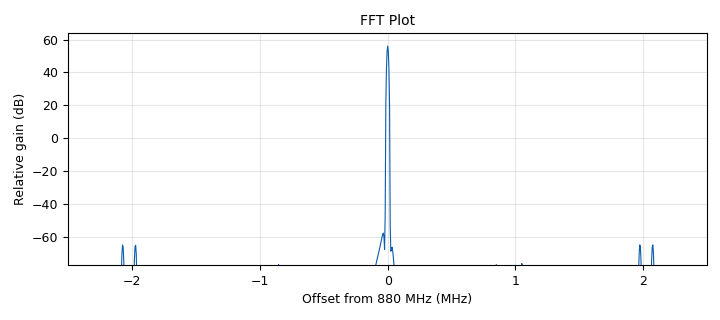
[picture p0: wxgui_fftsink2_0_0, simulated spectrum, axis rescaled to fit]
<?xml version='1.0' encoding='utf-8'?>
<?grc format='1' created='3.7.9'?>
<flow_graph>
<block>
<key>options</key>
<param><key>id</key><value>top_block</value></param>
<param><key>category</key><value>Custom</value></param>
<param><key>generate_options</key><value>wx_gui</value></param>
</block>
<block>
<key>variable</key>
<param><key>id</key><value>freq</value></param>
<param><key>value</key><value>880000000</value></param>
</block>
<block>
<key>variable</key>
<param><key>id</key><value>samp_rate</value></param>
<param><key>value</key><value>5000000</value></param>
</block>
<block>
<key>analog_sig_source_x</key>
<param><key>id</key><value>analog_sig_source_x_0</value></param>
<param><key>amp</key><value>30</value></param>
<param><key>freq</key><value>freq + 2000000</value></param>
<param><key>offset</key><value>0</value></param>
<param><key>type</key><value>complex</value></param>
<param><key>samp_rate</key><value>samp_rate</value></param>
<param><key>waveform</key><value>analog.GR_COS_WAVE</value></param>
</block>
<block>
<key>analog_sig_source_x</key>
<param><key>id</key><value>analog_sig_source_x_0_0</value></param>
<param><key>amp</key><value>30</value></param>
<param><key>freq</key><value>freq - 2000000</value></param>
<param><key>offset</key><value>0</value></param>
<param><key>type</key><value>complex</value></param>
<param><key>samp_rate</key><value>samp_rate</value></param>
<param><key>waveform</key><value>analog.GR_COS_WAVE</value></param>
</block>
<block>
<key>blocks_add_xx</key>
<param><key>id</key><value>blocks_add_xx_0</value></param>
<param><key>type</key><value>complex</value></param>
</block>
<block>
<key>blocks_multiply_xx</key>
<param><key>id</key><value>blocks_multiply_xx_0</value></param>
<param><key>type</key><value>complex</value></param>
</block>
<block>
<key>blocks_throttle</key>
<param><key>id</key><value>blocks_throttle_0</value></param>
<param><key>samples_per_second</key><value>samp_rate</value></param>
<param><key>type</key><value>complex</value></param>
</block>
<block>
<key>uhd_usrp_source</key>
<param><key>id</key><value>uhd_usrp_source_0</value></param>
<param><key>ant0</key><value></value></param>
<param><key>bw0</key><value>samp_rate / 2</value></param>
<param><key>center_freq0</key><value>freq</value></param>
<param><key>dc_offs_enb0</key><value>""</value></param>
<param><key>iq_imbal_enb0</key><value>""</value></param>
<param><key>norm_gain0</key><value>False</value></param>
<param><key>gain0</key><value>100</value></param>
<param><key>clock_rate</key><value>0.0</value></param>
<param><key>dev_args</key><value>""</value></param>
<param><key>type</key><value>fc32</value></param>
<param><key>samp_rate</key><value>samp_rate</value></param>
<param><key>hide_cmd_port</key><value>False</value></param>
<param><key>sync</key><value></value></param>
</block>
<block>
<key>wxgui_fftsink2</key>
<param><key>id</key><value>wxgui_fftsink2_0</value></param>
<param><key>avg_alpha</key><value>0</value></param>
<param><key>average</key><value>False</value></param>
<param><key>baseband_freq</key><value>freq</value></param>
<param><key>fft_size</key><value>1024</value></param>
<param><key>freqvar</key><value>None</value></param>
<param><key>peak_hold</key><value>False</value></param>
<param><key>ref_level</key><value>0</value></param>
<param><key>ref_scale</key><value>2.0</value></param>
<param><key>fft_rate</key><value>15</value></param>
<param><key>samp_rate</key><value>samp_rate</value></param>
<param><key>title</key><value>FFT Plot</value></param>
<param><key>type</key><value>complex</value></param>
<param><key>win</key><value>None</value></param>
<param><key>y_divs</key><value>10</value></param>
<param><key>y_per_div</key><value>10</value></param>
</block>
<block>
<key>wxgui_fftsink2</key>
<param><key>id</key><value>wxgui_fftsink2_0_0</value></param>
<param><key>avg_alpha</key><value>0</value></param>
<param><key>average</key><value>False</value></param>
<param><key>baseband_freq</key><value>freq</value></param>
<param><key>fft_size</key><value>1024</value></param>
<param><key>freqvar</key><value>None</value></param>
<param><key>peak_hold</key><value>False</value></param>
<param><key>ref_level</key><value>0</value></param>
<param><key>ref_scale</key><value>2.0</value></param>
<param><key>fft_rate</key><value>15</value></param>
<param><key>samp_rate</key><value>samp_rate</value></param>
<param><key>title</key><value>FFT Plot</value></param>
<param><key>type</key><value>complex</value></param>
<param><key>win</key><value>None</value></param>
<param><key>y_divs</key><value>10</value></param>
<param><key>y_per_div</key><value>10</value></param>
</block>
<block>
<key>wxgui_fftsink2</key>
<param><key>id</key><value>wxgui_fftsink2_0_1</value></param>
<param><key>avg_alpha</key><value>0</value></param>
<param><key>average</key><value>False</value></param>
<param><key>baseband_freq</key><value>freq</value></param>
<param><key>fft_size</key><value>1024</value></param>
<param><key>freqvar</key><value>None</value></param>
<param><key>peak_hold</key><value>False</value></param>
<param><key>ref_level</key><value>0</value></param>
<param><key>ref_scale</key><value>2.0</value></param>
<param><key>fft_rate</key><value>15</value></param>
<param><key>samp_rate</key><value>samp_rate</value></param>
<param><key>title</key><value>FFT Plot</value></param>
<param><key>type</key><value>complex</value></param>
<param><key>win</key><value>None</value></param>
<param><key>y_divs</key><value>10</value></param>
<param><key>y_per_div</key><value>10</value></param>
</block>
<connection><source_block_id>analog_sig_source_x_0</source_block_id><sink_block_id>blocks_multiply_xx_0</sink_block_id><source_key>0</source_key><sink_key>0</sink_key></connection>
<connection><source_block_id>analog_sig_source_x_0_0</source_block_id><sink_block_id>blocks_multiply_xx_0</sink_block_id><source_key>0</source_key><sink_key>1</sink_key></connection>
<connection><source_block_id>blocks_add_xx_0</source_block_id><sink_block_id>wxgui_fftsink2_0</sink_block_id><source_key>0</source_key><sink_key>0</sink_key></connection>
<connection><source_block_id>blocks_multiply_xx_0</source_block_id><sink_block_id>blocks_throttle_0</sink_block_id><source_key>0</source_key><sink_key>0</sink_key></connection>
<connection><source_block_id>blocks_throttle_0</source_block_id><sink_block_id>blocks_add_xx_0</sink_block_id><source_key>0</source_key><sink_key>0</sink_key></connection>
<connection><source_block_id>blocks_throttle_0</source_block_id><sink_block_id>wxgui_fftsink2_0_0</sink_block_id><source_key>0</source_key><sink_key>0</sink_key></connection>
<connection><source_block_id>uhd_usrp_source_0</source_block_id><sink_block_id>blocks_add_xx_0</sink_block_id><source_key>0</source_key><sink_key>1</sink_key></connection>
<connection><source_block_id>uhd_usrp_source_0</source_block_id><sink_block_id>wxgui_fftsink2_0_1</sink_block_id><source_key>0</source_key><sink_key>0</sink_key></connection>
</flow_graph>
